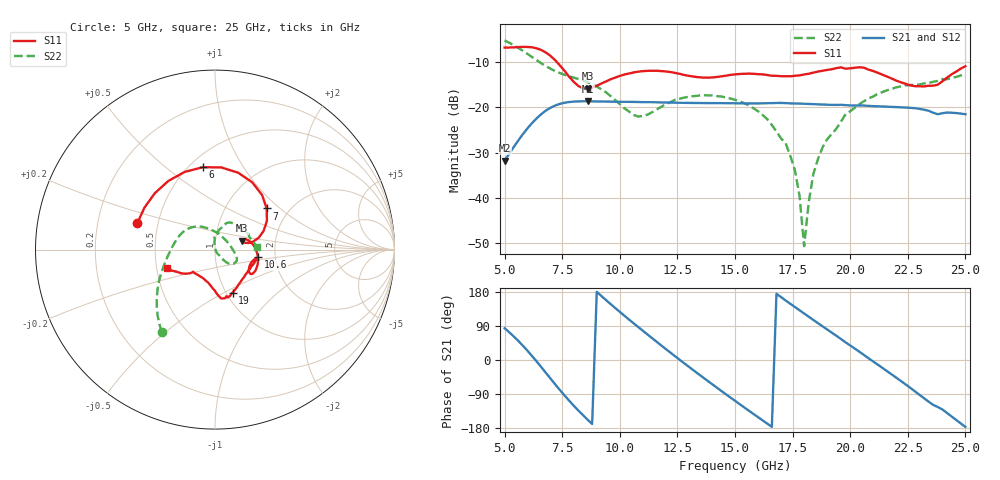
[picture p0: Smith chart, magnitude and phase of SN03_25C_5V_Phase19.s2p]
!File name = SN03_25C_5V_Phase19.s2p
!Date = 2/3/2014
!Time = 2:35 PM
!Test duration(min) = 0.07
!Test = SPars
!MPTS version = 7.120.8
!Comments =
!set_LD1(binary) = 19
!set_LD2(binary) = 524268
!test = SPars
!date_code = 20140203
!file_name = SN03_25C_5V_Phase19.s2p
!VREF(V) = 5.000
!VREF(mA) = 0.002
# GHz  S  DB  R  50
!%	Freq(GHz)  S11(dB)  S11(deg)  S21(dB)  S21(deg)  S12(dB)  S12(deg)  S22(dB)  S22(deg)
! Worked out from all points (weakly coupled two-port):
!   101 points, 5 GHz to 25 GHz, reference 50 ohm
!   highest |S21| = -18.66 dB at 8.6 GHz (marker M1); lowest = -31.8 dB at 5 GHz (marker M2)
!   lowest |S11| = -15.9 dB at 8.6 GHz (marker M3), VSWR 1.38, Z = 67.6 + j6.98 ohm
!   |S11| at or under -10 dB: 7.269 GHz to end of sweep
!   |S22| runs from -50.6 to -5.2 dB; largest |S21 - S12| = 0.00047
!   S11 on the Smith chart (normalised r, x): 5 GHz: 0.38, +0.14; 6 GHz: 0.58, +0.68; 7 GHz: 1.55, +0.82; 10.6 GHz: 1.62, -0.15; 19 GHz: 1.07, -0.55; 25 GHz: 0.57, -0.13
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5  -6.80 161.3  -31.81 83.9  -31.83 83.9  -5.24 -122.7
6  -6.67 98.6  -24.59 23.9  -24.60 23.9  -8.22 -145.5
7  -8.68 38.5  -20.07 -49.6  -20.09 -49.5  -11.49 -171.9
7.6  -11.94 15.3  -18.99 -93.5  -19.01 -93.3  -12.80 170.8
8.4  -15.79 15.5  -18.67 -145.5  -18.69 -145.4  -14.06 147.3
8.6  -15.89 18.3  -18.66 -157.4  -18.69 -157.3  -14.45 141.8
10.6  -12.30 -10.0  -18.80 96.8  -18.82 96.9  -21.68 62.9
11.8  -12.00 -30.7  -18.91 38.4  -18.92 38.4  -19.87 -2.1
13.6  -13.43 -25.8  -19.05 -45.5  -19.05 -45.5  -17.31 -27.1
15  -12.74 -12.5  -19.11 -107.7  -19.11 -107.8  -18.33 -40.7
16.2  -12.72 -18.8  -19.11 -159.4  -19.13 -159.3  -21.68 -49.7
17.2  -13.14 -35.7  -19.07 157.0  -19.08 157.1  -27.94 -53.4
17.6  -13.03 -44.0  -19.15 139.9  -19.16 140.0  -33.87 -59.2
17.8  -12.94 -48.5  -19.18 131.3  -19.19 131.4  -39.50 -59.1
18  -12.75 -52.0  -19.21 122.7  -19.23 122.8  -50.65 14.9
18.2  -12.58 -55.9  -19.25 114.2  -19.27 114.3  -40.96 97.1
18.4  -12.34 -59.5  -19.30 105.7  -19.31 105.8  -34.72 95.4
19  -11.74 -67.8  -19.42 80.5  -19.43 80.5  -27.05 94.5
19.8  -11.47 -76.2  -19.52 46.6  -19.54 46.6  -21.50 88.7
21.8  -13.63 -95.4  -19.90 -38.1  -19.91 -38.0  -15.93 66.9
23.6  -15.22 -134.8  -21.18 -118.4  -21.20 -118.3  -14.36 36.9
25  -10.93 -159.1  -21.52 -176.6  -21.54 -176.6  -12.68 4.1
